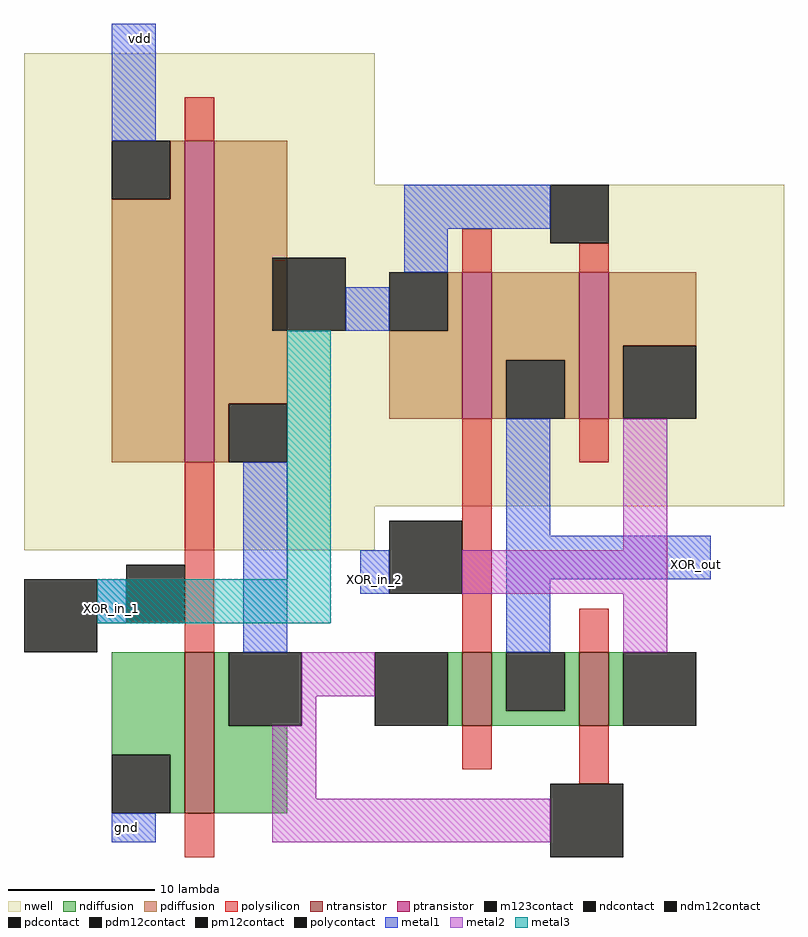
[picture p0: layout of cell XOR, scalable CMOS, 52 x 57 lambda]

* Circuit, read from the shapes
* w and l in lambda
.subckt XOR XOR_in_1 XOR_in_2 XOR_out gnd vdd
M1 n1 XOR_in_1 gnd VSUBS nfet w=11 l=2
M2 XOR_out XOR_in_2 n1 VSUBS nfet w=5 l=2
M3 XOR_in_2 n1 XOR_out VSUBS nfet w=5 l=2
M4 n1 XOR_in_1 vdd n2 pfet w=22 l=2
M5 XOR_out XOR_in_2 XOR_in_1 n2 pfet w=10 l=2
M6 XOR_in_2 XOR_in_1 XOR_out n2 pfet w=10 l=2
.ends

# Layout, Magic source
magic
tech scmos
<< nwell >>
rect -61 42 -37 51
rect -61 20 -9 42
rect -61 17 -37 20
<< ntransistor >>
rect -50 -1 -48 10
rect -31 5 -29 10
rect -23 5 -21 10
<< ptransistor >>
rect -50 23 -48 45
rect -31 26 -29 36
rect -23 26 -21 36
<< ndiffusion >>
rect -55 3 -50 10
rect -51 -1 -50 3
rect -48 5 -47 10
rect -32 5 -31 10
rect -29 6 -28 10
rect -24 6 -23 10
rect -29 5 -23 6
rect -21 5 -20 10
rect -48 -1 -43 5
<< pdiffusion >>
rect -51 41 -50 45
rect -55 23 -50 41
rect -48 27 -43 45
rect -48 23 -47 27
rect -32 32 -31 36
rect -36 26 -31 32
rect -29 30 -23 36
rect -29 26 -28 30
rect -24 26 -23 30
rect -21 31 -15 36
rect -21 26 -20 31
<< ndcontact >>
rect -55 -1 -51 3
rect -28 6 -24 10
<< pdcontact >>
rect -55 41 -51 45
rect -47 23 -43 27
rect -36 32 -32 36
rect -28 26 -24 30
<< polysilicon >>
rect -50 45 -48 48
rect -31 36 -29 39
rect -23 36 -21 38
rect -50 10 -48 23
rect -31 10 -29 26
rect -23 23 -21 26
rect -23 10 -21 13
rect -31 2 -29 5
rect -23 1 -21 5
rect -50 -4 -48 -1
<< polycontact >>
rect -25 38 -21 42
rect -54 12 -50 16
<< metal1 >>
rect -55 45 -52 53
rect -35 39 -25 42
rect -35 36 -32 39
rect -39 32 -36 35
rect -56 12 -54 15
rect -46 10 -43 23
rect -38 14 -36 17
rect -28 18 -25 26
rect -28 15 -14 18
rect -28 10 -25 15
rect -55 -3 -52 -1
<< pm12contact >>
rect -36 14 -31 19
rect -25 -4 -20 1
<< pdm12contact >>
rect -20 26 -15 31
<< ndm12contact >>
rect -47 5 -42 10
rect -37 5 -32 10
rect -20 5 -15 10
<< metal2 >>
rect -20 17 -17 26
rect -31 14 -17 17
rect -20 10 -17 14
rect -42 7 -37 10
rect -42 5 -41 7
rect -44 0 -41 5
rect -44 -3 -25 0
<< m123contact >>
rect -44 32 -39 37
rect -61 10 -56 15
<< metal3 >>
rect -43 15 -40 32
rect -56 12 -40 15
<< labels >>
rlabel metal1 -53 52 -53 52 5 vdd
rlabel metal1 -56 12 -54 14 1 XOR_in_1
rlabel metal1 -54 -2 -54 -2 1 gnd
rlabel metal1 -37 15 -37 15 1 XOR_in_2
rlabel metal1 -15 16 -15 16 1 XOR_out
<< end >>
